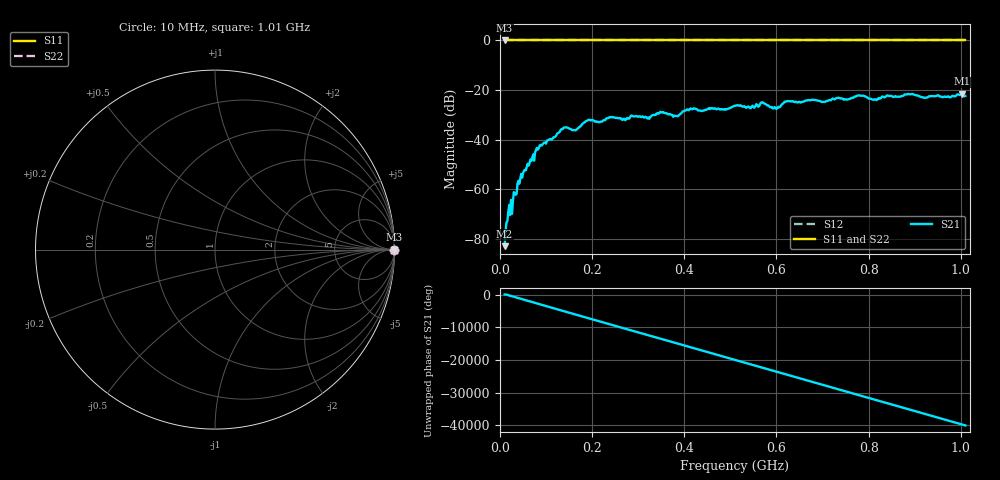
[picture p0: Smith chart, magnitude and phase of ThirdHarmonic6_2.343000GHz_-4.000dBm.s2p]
! 8/17/2025 3:28:28 AM
! C:\ANRITSUVNA\TEMP\TEMP.S2P
! CHANNEL.1
! TR.MEASUREMENT
! RAW.DATA
! RF.CORRECTION.OFF
! AVERAGING.OFF
! IF.BANDWIDTH: 5KHZ
! SWEEPTYPE:  FREQ.SWEEP(Linear)
! Reference Plane Port Info
! PORT:  PORT1  PORT2
! DISTANCE:  0  m  0  m
! TIME:  0  s  0  s
! PHASE.OFFSET:  0  deg.  0  deg.
! LOSS:  0  dB  0  dB
! REF.LOSS:  0  dB  0  dB
! REF.FREQ:  0  Hz  0  Hz
! Power Info
! POWER:  -20  dBm  -20  dBm
! EFF.POWER:  -20  dBm  -20  dBm
! SOURCE.ATTEN:  0  dB  0  dB
! TEST.ATTEN:  0  dB  0  dB
# GHZ S RI R 50.0
! FREQ.GHZ  S11RE  S11IM  S21RE  S21IM  S12RE  S12IM  S22RE  S22IM
!; PortSelection: Port_12
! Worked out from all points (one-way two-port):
!   501 points, 10 MHz to 1.01 GHz, reference 50 ohm
!   highest |S21| = -21.46 dB at 1.002 GHz (marker M1); lowest = -83.0 dB at 10 MHz (marker M2)
!   lowest |S11| = 0.0 dB at 10 MHz (marker M3)
!   |S11| at or under -10 dB: nowhere
!   |S22| runs from 0.0 to 0.0 dB; largest |S21 - S12| = 1.1
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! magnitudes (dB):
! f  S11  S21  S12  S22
! 10 MHz  0.0  -83.0  0.0  0.0
! 20 MHz  0.0  -66.3  0.0  0.0
! 42 MHz  0.0  -57.8  0.0  0.0
! 82 MHz  0.0  -44.0  0.0  0.0
! 136 MHz  0.0  -35.7  0.0  0.0
! 162 MHz  0.0  -36.2  0.0  0.0
! 178 MHz  0.0  -33.8  0.0  0.0
! 242 MHz  0.0  -31.0  0.0  0.0
! 322 MHz  0.0  -31.1  0.0  0.0
! 344 MHz  0.0  -29.6  0.0  0.0
! 380 MHz  0.0  -30.4  0.0  0.0
! 416 MHz  0.0  -27.7  0.0  0.0
! 510 MHz  0.0  -26.4  0.0  0.0
! 570 MHz  0.0  -24.9  0.0  0.0
! 596 MHz  0.0  -26.9  0.0  0.0
! 622 MHz  0.0  -24.5  0.0  0.0
! 678 MHz  0.0  -23.9  0.0  0.0
! 780 MHz  0.0  -22.2  0.0  0.0
! 814 MHz  0.0  -23.7  0.0  0.0
! 844 MHz  0.0  -22.4  0.0  0.0
! 1.002 GHz  0.0  -21.5  0.0  0.0
! 1.01 GHz  0.0  -22.4  0.0  0.0
